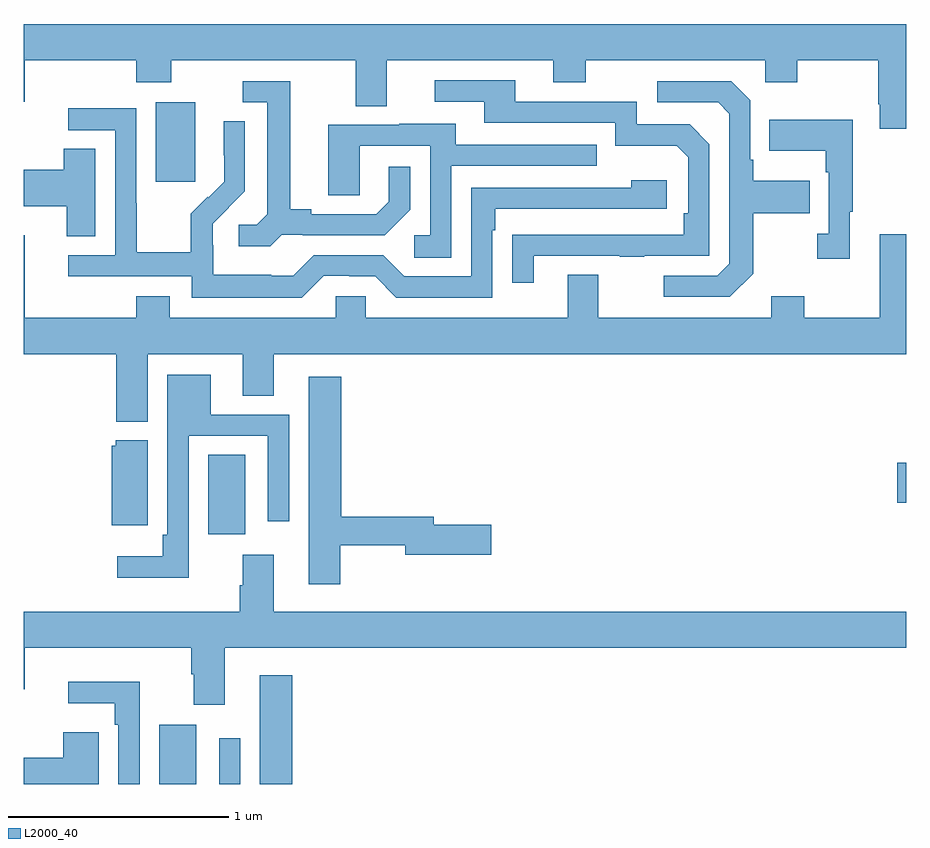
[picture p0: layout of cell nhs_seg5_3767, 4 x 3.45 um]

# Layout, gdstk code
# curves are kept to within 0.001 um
import gdstk
lib = gdstk.Library(unit=1e-6, precision=1e-09)
def R(c, l, rs):  # rectangles x0, y0, x1, y1
    for r in rs: c.add(gdstk.rectangle(r[:2], r[2:], *l))
def P(c, l, *ps):  # polygons
    for p in ps: c.add(gdstk.Polygon(p, *l))
L2000_40 = (2000, 40)

nhs_seg5_3767 = lib.new_cell('nhs_seg5_3767')
R(nhs_seg5_3767, L2000_40, [(333.614,866.799,333.781,867.067), (333.885,866.799,333.981,867.007), (334.07,866.799,334.217,867.292), (333.836,867.93,334.003,868.292), (336.96,868.073,337,868.256), (333.599,869.529,333.778,869.89)])
P(nhs_seg5_3767, L2000_40, [(337,870.244),(333,870.244),(333,869.892),(333.004,869.892),(333.004,870.08),(333.509,870.08),(333.509,869.981),(333.669,869.981),(333.669,870.08),(334.505,870.08),(334.505,869.872),(334.645,869.872),(334.645,870.08),(335.399,870.08),(335.399,869.981),(335.547,869.981),(335.547,870.08),(336.36,870.08),(336.36,869.981),(336.507,869.981),(336.507,870.08),(336.874,870.08),(336.874,869.881),(336.881,869.881),(336.881,869.769),(337,869.769)],
  [(335.311,869.193),(335.701,869.193),(335.701,869.188),(335.813,869.188),(335.813,869.193),(336.108,869.193),(336.108,869.7),(336.018,869.79),(335.778,869.79),(335.778,869.892),(335.227,869.892),(335.227,869.988),(334.863,869.988),(334.863,869.892),(335.087,869.892),(335.087,869.796),(335.682,869.796),(335.682,869.693),(335.959,869.693),(336.012,869.64),(336.012,869.386),(335.992,869.386),(335.992,869.289),(335.215,869.288),(335.215,869.07),(335.311,869.07)],
  [(336.307,869.113),(336.307,869.386),(336.563,869.386),(336.563,869.533),(336.307,869.533),(336.307,869.629),(336.294,869.629),(336.294,869.898),(336.207,869.985),(335.871,869.985),(335.871,869.889),(336.147,869.889),(336.198,869.838),(336.198,869.157),(336.144,869.103),(335.901,869.103),(335.901,869.007),(336.201,869.007)],
  [(334.17,869.289),(334.264,869.289),(334.264,869.286),(334.636,869.286),(334.752,869.402),(334.752,869.596),(334.655,869.596),(334.655,869.439),(334.598,869.382),(334.303,869.382),(334.303,869.405),(334.207,869.405),(334.207,869.985),(333.993,869.985),(333.993,869.889),(334.103,869.889),(334.103,869.381),(334.056,869.334),(333.975,869.334),(333.975,869.237),(334.118,869.237)],
  [(334.359,869.103),(334.475,869.103),(334.475,869.1),(334.593,869.1),(334.689,869.004),(335.124,869.004),(335.124,869.309),(335.137,869.309),(335.137,869.406),(335.914,869.406),(335.914,869.536),(335.753,869.536),(335.753,869.502),(335.028,869.502),(335.028,869.1),(334.725,869.1),(334.629,869.196),(334.314,869.196),(334.221,869.103),(334.121,869.103),(334.121,869.107),(333.858,869.107),(333.858,869.241),(333.856,869.241),(333.856,869.338),(334.002,869.486),(334.002,869.804),(333.906,869.804),(333.906,869.65),(333.908,869.65),(333.908,869.528),(333.837,869.457),(333.834,869.46),(333.757,869.383),(333.757,869.209),(333.513,869.209),(333.513,869.432),(333.51,869.432),(333.51,869.862),(333.201,869.862),(333.201,869.763),(333.414,869.763),(333.414,869.196),(333.201,869.196),(333.201,869.1),(333.762,869.1),(333.762,869.003),(334.259,869.003)],
  [(336.745,869.393),(336.757,869.393),(336.757,869.809),(336.379,869.809),(336.379,869.669),(336.636,869.669),(336.636,869.573),(336.648,869.573),(336.648,869.294),(336.597,869.294),(336.597,869.181),(336.745,869.181)],
  [(334.938,869.601),(335.597,869.601),(335.597,869.697),(334.957,869.697),(334.957,869.791),(334.703,869.791),(334.703,869.787),(334.379,869.787),(334.379,869.467),(334.524,869.467),(334.524,869.691),(334.842,869.691),(334.842,869.286),(334.77,869.286),(334.77,869.185),(334.938,869.185)],
  [(333.325,869.678),(333.182,869.678),(333.182,869.583),(333,869.583),(333,869.417),(333.194,869.417),(333.194,869.281),(333.325,869.281)],
  [(333.562,868.748),(333.992,868.748),(333.992,868.558),(334.132,868.558),(334.132,868.748),(337,868.748),(337,869.29),(336.881,869.29),(336.881,868.912),(336.537,868.912),(336.537,869.011),(336.389,869.011),(336.389,868.912),(335.605,868.912),(335.605,869.107),(335.465,869.107),(335.465,868.912),(334.551,868.912),(334.551,869.01),(334.413,869.01),(334.413,868.912),(333.661,868.912),(333.661,869.011),(333.509,869.011),(333.509,868.912),(333.004,868.912),(333.004,869.287),(333,869.287),(333,868.748),(333.419,868.748),(333.419,868.442),(333.562,868.442)],
  [(333.747,868.377),(334.107,868.377),(334.107,867.99),(334.203,867.99),(334.203,868.473),(333.847,868.473),(333.847,868.654),(333.651,868.654),(333.651,867.928),(333.631,867.928),(333.631,867.832),(333.423,867.832),(333.423,867.734),(333.747,867.734)],
  [(334.434,867.882),(334.73,867.882),(334.73,867.839),(335.119,867.839),(335.119,867.974),(334.858,867.974),(334.858,868.01),(334.439,868.01),(334.439,868.645),(334.292,868.645),(334.292,867.705),(334.434,867.705)],
  [(333.562,868.357),(333.417,868.357),(333.417,868.332),(333.398,868.332),(333.398,867.971),(333.562,867.971)],
  [(333.91,867.416),(337,867.416),(337,867.58),(334.132,867.58),(334.132,867.838),(333.992,867.838),(333.992,867.701),(333.98,867.701),(333.98,867.58),(333,867.58),(333,867.228),(333.004,867.228),(333.004,867.416),(333.758,867.416),(333.758,867.296),(333.77,867.296),(333.77,867.159),(333.91,867.159)],
  [(333.525,867.262),(333.201,867.262),(333.201,867.164),(333.413,867.164),(333.413,867.068),(333.429,867.068),(333.429,866.799),(333.525,866.799)],
  [(333.34,866.921),(333.339,866.921),(333.339,867.034),(333.179,867.034),(333.179,866.919),(333,866.919),(333,866.799),(333.34,866.799)])

lib.write_gds('nhs_seg5_3767.gds')
